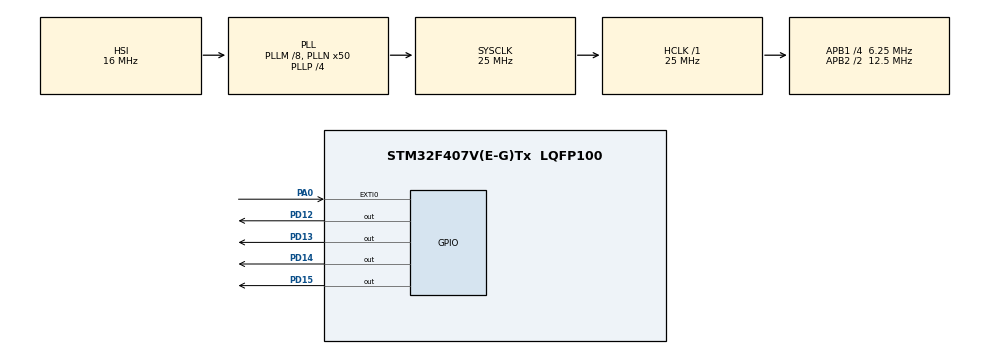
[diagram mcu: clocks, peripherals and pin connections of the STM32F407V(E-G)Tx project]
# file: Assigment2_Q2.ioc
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Mcu.Family=STM32F4
Mcu.Name=STM32F407V(E-G)Tx
Mcu.Package=LQFP100
NVIC.EXTI0_IRQn=true\:0\:0\:false\:false\:true\:true\:true\:true
NVIC.PriorityGroup=NVIC_PRIORITYGROUP_0
PA0-WKUP.GPIO_ModeDefaultEXTI=GPIO_MODE_IT_RISING
PA0-WKUP.Signal=GPXTI0
PD12.Signal=GPIO_Output
PD13.Signal=GPIO_Output
PD14.Signal=GPIO_Output
PD15.Signal=GPIO_Output
ProjectManager.HeapSize=0x200
ProjectManager.StackSize=0x400
ProjectManager.TargetToolchain=STM32CubeIDE
RCC.48MHZClocksFreq_Value=14285714.285714285
RCC.AHBFreq_Value=25000000
RCC.APB1CLKDivider=RCC_HCLK_DIV4
RCC.APB1Freq_Value=6250000
RCC.APB1TimFreq_Value=12500000
RCC.APB2CLKDivider=RCC_HCLK_DIV2
RCC.APB2Freq_Value=12500000
RCC.APB2TimFreq_Value=25000000
RCC.CortexFreq_Value=25000000
RCC.HCLKFreq_Value=25000000
RCC.HSE_VALUE=8000000
RCC.HSI_VALUE=16000000
RCC.LSE_VALUE=32768
RCC.PLLM=8
RCC.PLLN=50
RCC.PLLP=RCC_PLLP_DIV4
RCC.PLLQ=7
RCC.SYSCLKFreq_VALUE=25000000
RCC.SYSCLKSource=RCC_SYSCLKSOURCE_PLLCLK
RCC.VCOOutputFreq_Value=100000000
board=STM32F407G-DISC1

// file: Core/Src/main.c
/* USER CODE BEGIN Header */
/**
  ******************************************************************************
  * @file           : main.c
  * @brief          : Main program body
  ******************************************************************************
  * @attention
  *
  * Copyright (c) 2026 STMicroelectronics.
  * All rights reserved.
  *
  * This software is licensed under terms that can be found in the LICENSE file
  * in the root directory of this software component.
  * If no LICENSE file comes with this software, it is provided AS-IS.
  *
  ******************************************************************************
  */
/* USER CODE END Header */
#include "main.h"

/* USER CODE BEGIN PV */
static volatile int eintSwitchFlag = 0;
static uint8_t currentLED = 0;

/* USER CODE END PV */

void SystemClock_Config(void);
static void MX_GPIO_Init(void);

int main(void)
{

  /* MCU Configuration--------------------------------------------------------*/

  /* Reset of all peripherals, Initializes the Flash interface and the Systick. */
  HAL_Init();

  /* Configure the system clock */
  SystemClock_Config();

  /* Initialize all configured peripherals */
  MX_GPIO_Init();

  /* Infinite loop */
  while (1)
  {

    /* USER CODE BEGIN 3 */

	if(currentLED == 0)
		HAL_GPIO_TogglePin(GPIOD,GPIO_PIN_12);
	else if(currentLED == 1)
		HAL_GPIO_TogglePin(GPIOD,GPIO_PIN_13);
	else if(currentLED == 2)
		HAL_GPIO_TogglePin(GPIOD,GPIO_PIN_14);
	else if(currentLED == 3)
		HAL_GPIO_TogglePin(GPIOD,GPIO_PIN_15);

	HAL_Delay(1000);

		if(eintSwitchFlag == 1)
		{
			HAL_GPIO_WritePin(GPIOD, GPIO_PIN_12 | GPIO_PIN_13 | GPIO_PIN_14 | GPIO_PIN_15, GPIO_PIN_RESET);
			currentLED++;

			if(currentLED > 3)
			{
				currentLED = 0;
			}
			eintSwitchFlag = 0;

		}

  	  }
  }

  /* USER CODE END 3 */

void SystemClock_Config(void)
{
  RCC_OscInitTypeDef RCC_OscInitStruct = {0};
  RCC_ClkInitTypeDef RCC_ClkInitStruct = {0};

  /** Configure the main internal regulator output voltage
  */
  __HAL_RCC_PWR_CLK_ENABLE();
  __HAL_PWR_VOLTAGESCALING_CONFIG(PWR_REGULATOR_VOLTAGE_SCALE1);

  /** Initializes the RCC Oscillators according to the specified parameters
  * in the RCC_OscInitTypeDef structure.
  */
  RCC_OscInitStruct.OscillatorType = RCC_OSCILLATORTYPE_HSI;
  RCC_OscInitStruct.HSIState = RCC_HSI_ON;
  RCC_OscInitStruct.HSICalibrationValue = RCC_HSICALIBRATION_DEFAULT;
  RCC_OscInitStruct.PLL.PLLState = RCC_PLL_ON;
  RCC_OscInitStruct.PLL.PLLSource = RCC_PLLSOURCE_HSI;
  RCC_OscInitStruct.PLL.PLLM = 8;
  RCC_OscInitStruct.PLL.PLLN = 50;
  RCC_OscInitStruct.PLL.PLLP = RCC_PLLP_DIV4;
  RCC_OscInitStruct.PLL.PLLQ = 7;
  if (HAL_RCC_OscConfig(&RCC_OscInitStruct) != HAL_OK)
  {
    Error_Handler();
  }

  /** Initializes the CPU, AHB and APB buses clocks
  */
  RCC_ClkInitStruct.ClockType = RCC_CLOCKTYPE_HCLK|RCC_CLOCKTYPE_SYSCLK
                              |RCC_CLOCKTYPE_PCLK1|RCC_CLOCKTYPE_PCLK2;
  RCC_ClkInitStruct.SYSCLKSource = RCC_SYSCLKSOURCE_PLLCLK;
  RCC_ClkInitStruct.AHBCLKDivider = RCC_SYSCLK_DIV1;
  RCC_ClkInitStruct.APB1CLKDivider = RCC_HCLK_DIV4;
  RCC_ClkInitStruct.APB2CLKDivider = RCC_HCLK_DIV2;

  if (HAL_RCC_ClockConfig(&RCC_ClkInitStruct, FLASH_LATENCY_0) != HAL_OK)
  {
    Error_Handler();
  }
}

static void MX_GPIO_Init(void)
{
  GPIO_InitTypeDef GPIO_InitStruct = {0};

  /* GPIO Ports Clock Enable */
  __HAL_RCC_GPIOA_CLK_ENABLE();
  __HAL_RCC_GPIOD_CLK_ENABLE();

  /*Configure GPIO pin Output Level */
  HAL_GPIO_WritePin(GPIOD, GPIO_PIN_12|GPIO_PIN_13|GPIO_PIN_14|GPIO_PIN_15, GPIO_PIN_RESET);

  /*Configure GPIO pin : PA0 */
  GPIO_InitStruct.Pin = GPIO_PIN_0;
  GPIO_InitStruct.Mode = GPIO_MODE_IT_RISING;
  GPIO_InitStruct.Pull = GPIO_NOPULL;
  HAL_GPIO_Init(GPIOA, &GPIO_InitStruct);

  /*Configure GPIO pins : PD12 PD13 PD14 PD15 */
  GPIO_InitStruct.Pin = GPIO_PIN_12|GPIO_PIN_13|GPIO_PIN_14|GPIO_PIN_15;
  GPIO_InitStruct.Mode = GPIO_MODE_OUTPUT_PP;
  GPIO_InitStruct.Pull = GPIO_NOPULL;
  GPIO_InitStruct.Speed = GPIO_SPEED_FREQ_LOW;
  HAL_GPIO_Init(GPIOD, &GPIO_InitStruct);

  /* EXTI interrupt init*/
  HAL_NVIC_SetPriority(EXTI0_IRQn, 0, 0);
  HAL_NVIC_EnableIRQ(EXTI0_IRQn);

}

/* USER CODE BEGIN 4 */
void HAL_GPIO_EXTI_Callback(uint16_t GPIO_Pin){

	if(GPIO_Pin == GPIO_PIN_0)
	{
		eintSwitchFlag = 1;
	}
}
/* USER CODE END 4 */

void Error_Handler(void)
{
  __disable_irq();
  while (1)
  {
  }
}
